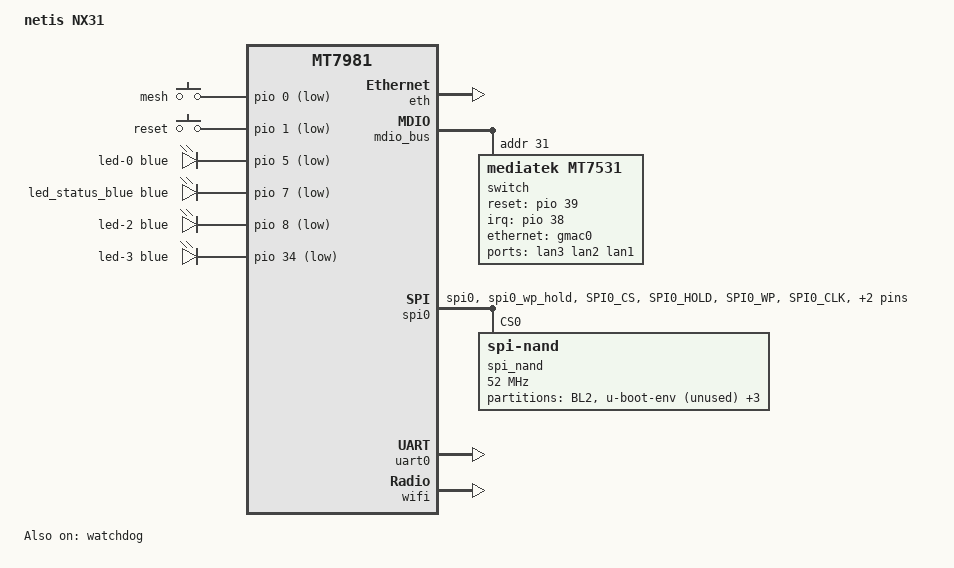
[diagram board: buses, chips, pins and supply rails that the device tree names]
// SPDX-License-Identifier: GPL-2.0-only OR MIT

/dts-v1/;
#include <dt-bindings/gpio/gpio.h>
#include <dt-bindings/input/input.h>
#include <dt-bindings/leds/common.h>

#include "mt7981.dtsi"

/ {
	model = "netis NX31";
	compatible = "netis,nx31", "mediatek,mt7981";

	aliases {
		label-mac-device = &gmac0;

		led-boot = &led_status_blue;
		led-failsafe = &led_status_blue;
		led-running = &led_status_blue;
		led-upgrade = &led_status_blue;

		serial0 = &uart0;
	};

	chosen {
		rootdisk = <&ubi_fit_volume>;
		stdout-path = "serial0:115200n8";
	};

	gpio-keys {
		compatible = "gpio-keys";

		button-0 {
			label = "mesh";
			gpios = <&pio 0 GPIO_ACTIVE_LOW>;
			linux,code = <KEY_RFKILL>;
			debounce-interval = <60>;
		};

		button-1 {
			label = "reset";
			gpios = <&pio 1 GPIO_ACTIVE_LOW>;
			linux,code = <KEY_RESTART>;
			debounce-interval = <60>;
		};
	};

	leds {
		compatible = "gpio-leds";

		led-0 {
			color = <LED_COLOR_ID_BLUE>;
			function = LED_FUNCTION_WLAN_2GHZ;
			gpios = <&pio 5 GPIO_ACTIVE_LOW>;
			linux,default-trigger = "phy0tpt";
		};

		led_status_blue: led-1 {
			color = <LED_COLOR_ID_BLUE>;
			function = LED_FUNCTION_STATUS;
			gpios = <&pio 7 GPIO_ACTIVE_LOW>;
		};

		led-2 {
			color = <LED_COLOR_ID_BLUE>;
			function = LED_FUNCTION_WAN;
			gpios = <&pio 8 GPIO_ACTIVE_LOW>;
		};

		led-3 {
			color = <LED_COLOR_ID_BLUE>;
			function = LED_FUNCTION_WLAN_5GHZ;
			gpios = <&pio 34 GPIO_ACTIVE_LOW>;
			linux,default-trigger = "phy1tpt";
		};
	};
};

&eth {
	status = "okay";

	gmac0: mac@0 {
		compatible = "mediatek,eth-mac";
		reg = <0>;
		phy-mode = "2500base-x";

		nvmem-cell-names = "mac-address";
		nvmem-cells = <&macaddr_factory_1fef20 0>;

		fixed-link {
			speed = <2500>;
			full-duplex;
			pause;
		};
	};

	gmac1: mac@1 {
		compatible = "mediatek,eth-mac";
		reg = <1>;
		phy-mode = "gmii";
		phy-handle = <&int_gbe_phy>;

		nvmem-cell-names = "mac-address";
		nvmem-cells = <&macaddr_factory_1fef26 0>;
	};
};

&mdio_bus {
	switch: switch@1f {
		compatible = "mediatek,mt7531";
		reg = <0x1f>;
		reset-gpios = <&pio 39 GPIO_ACTIVE_HIGH>;
		interrupt-controller;
		#interrupt-cells = <1>;
		interrupt-parent = <&pio>;
		interrupts = <38 IRQ_TYPE_LEVEL_HIGH>;
	};
};

&spi0 {
	pinctrl-names = "default";
	pinctrl-0 = <&spi0_flash_pins>;
	status = "okay";

	spi_nand@0 {
		#address-cells = <1>;
		#size-cells = <1>;
		compatible = "spi-nand";
		reg = <0>;

		spi-max-frequency = <52000000>;
		spi-tx-bus-width = <4>;
		spi-rx-bus-width = <4>;

		spi-cal-enable;
		spi-cal-mode = "read-data";
		spi-cal-datalen = <7>;
		spi-cal-data = /bits/ 8 <0x53 0x50 0x49 0x4e 0x41 0x4e 0x44>;
		spi-cal-addrlen = <5>;
		spi-cal-addr = /bits/ 32 <0x0 0x0 0x0 0x0 0x0>;

		partitions {
			compatible = "fixed-partitions";
			#address-cells = <1>;
			#size-cells = <1>;

			partition@0 {
				label = "BL2";
				reg = <0x0 0x100000>;
				read-only;
			};

			partition@100000 {
				label = "u-boot-env (unused)";
				reg = <0x100000 0x80000>;
				read-only;
			};

			partition@180000 {
				label = "Factory";
				reg = <0x180000 0x200000>;
				read-only;

				nvmem-layout {
					compatible = "fixed-layout";
					#address-cells = <1>;
					#size-cells = <1>;

					eeprom_factory_0: eeprom@0 {
						reg = <0x0 0x1000>;
					};

					macaddr_factory_4: macaddr@4 {
						compatible = "mac-base";
						reg = <0x4 0x6>;
						#nvmem-cell-cells = <1>;
					};

					macaddr_factory_1fef20: macaddr@1fef20 {
						compatible = "mac-base";
						reg = <0x1fef20 0x6>;
						#nvmem-cell-cells = <1>;
					};

					macaddr_factory_1fef26: macaddr@1fef26 {
						compatible = "mac-base";
						reg = <0x1fef26 0x6>;
						#nvmem-cell-cells = <1>;
					};
				};
			};

			partition@380000 {
				label = "FIP";
				reg = <0x380000 0x200000>;
				read-only;
			};
			
			partition@580000 {
				label = "ubi";
				reg = <0x580000 0x7a80000>;
				compatible = "linux,ubi";

				volumes {
					ubi_fit_volume: ubi-volume-fit {
						volname = "fit";
					};

					ubi_ubootenv: ubi-volume-ubootenv {
						volname = "ubootenv";
					};

					ubi_ubootenv2: ubi-volume-ubootenv2 {
						volname = "ubootenv2";
					};
				};
			};
		};
	};
};

&switch {
	ports {
		#address-cells = <1>;
		#size-cells = <0>;

		port@1 {
			reg = <1>;
			label = "lan3";
		};

		port@2 {
			reg = <2>;
			label = "lan2";
		};

		port@3 {
			reg = <3>;
			label = "lan1";
		};

		port@6 {
			reg = <6>;
			ethernet = <&gmac0>;
			phy-mode = "2500base-x";

			fixed-link {
				speed = <2500>;
				full-duplex;
				pause;
			};
		};
	};
};

&pio {
	spi0_flash_pins: spi0-pins {
		mux {
			function = "spi";
			groups = "spi0", "spi0_wp_hold";
		};

		conf-pu {
			pins = "SPI0_CS", "SPI0_HOLD", "SPI0_WP";
			drive-strength = <MTK_DRIVE_8mA>;
			bias-pull-up = <MTK_PUPD_SET_R1R0_11>;
		};

		conf-pd {
			pins = "SPI0_CLK", "SPI0_MOSI", "SPI0_MISO";
			drive-strength = <MTK_DRIVE_8mA>;
			bias-pull-down = <MTK_PUPD_SET_R1R0_11>;
		};
	};
};

&uart0 {
	status = "okay";
};

&ubi_ubootenv {
	nvmem-layout {
		compatible = "u-boot,env-redundant-bool";
	};
};

&ubi_ubootenv2 {
	nvmem-layout {
		compatible = "u-boot,env-redundant-bool";
	};
};

&watchdog {
	status = "okay";
};

&wifi {
	status = "okay";
	nvmem-cell-names = "eeprom";
	nvmem-cells = <&eeprom_factory_0>;
};
